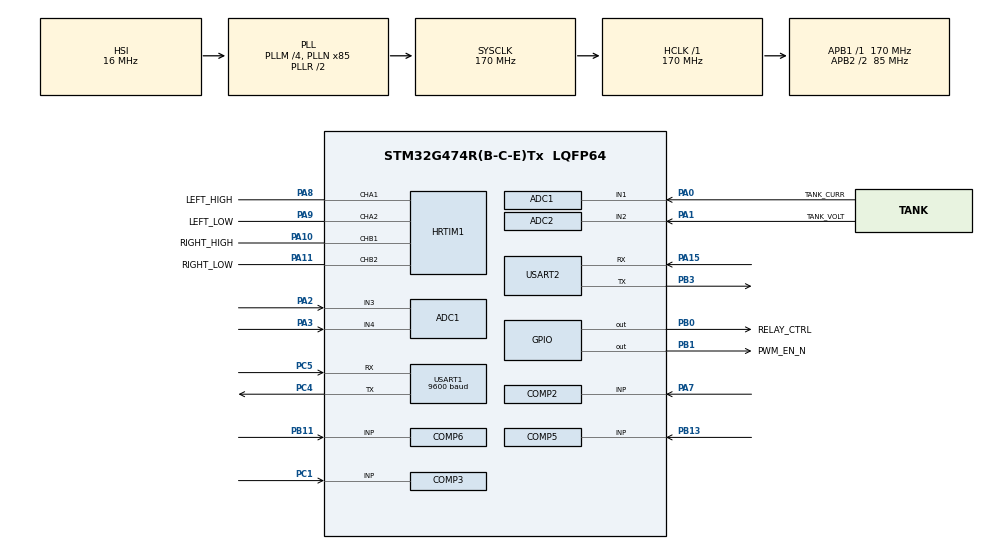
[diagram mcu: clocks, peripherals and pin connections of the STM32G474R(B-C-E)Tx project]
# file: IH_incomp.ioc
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ADC1.Channel-2\#ChannelRegularConversion=ADC_CHANNEL_1
ADC1.DMAAccessModeView=ENABLE
ADC1.DMAContinuousRequests=ENABLE
ADC1.EnableInjectedConversion=ENABLE
ADC1.ExternalTrigConv=ADC_SOFTWARE_START
ADC1.InjNumberOfConversion=2
ADC1.InjectedChannel-4\#ChannelInjectedConversion=ADC_CHANNEL_3
ADC1.InjectedChannel-5\#ChannelInjectedConversion=ADC_CHANNEL_4
ADC1.InjectedOffsetNumber-4\#ChannelInjectedConversion=ADC_OFFSET_NONE
ADC1.InjectedOffsetNumber-5\#ChannelInjectedConversion=ADC_OFFSET_NONE
ADC1.InjectedRank-4\#ChannelInjectedConversion=1
ADC1.InjectedRank-5\#ChannelInjectedConversion=2
ADC1.InjectedSamplingTime-4\#ChannelInjectedConversion=ADC_SAMPLETIME_640CYCLES_5
ADC1.InjectedSamplingTime-5\#ChannelInjectedConversion=ADC_SAMPLETIME_640CYCLES_5
ADC1.Mode=ADC_DUALMODE_REGSIMULT_INJECSIMULT
ADC1.NbrOfConversion=1
ADC1.NbrOfConversionFlag=1
ADC1.OffsetNumber-2\#ChannelRegularConversion=ADC_OFFSET_NONE
ADC1.Overrun=ADC_OVR_DATA_OVERWRITTEN
ADC1.Rank-2\#ChannelRegularConversion=1
ADC1.Rank1_Channel=ADC_CHANNEL_3
ADC1.Rank2_Channel=ADC_CHANNEL_4
ADC1.SamplingTime-2\#ChannelRegularConversion=ADC_SAMPLETIME_2CYCLES_5
ADC1.master=1
ADC2.Channel-3\#ChannelRegularConversion=ADC_CHANNEL_2
ADC2.DMAAccessModeView=ENABLE
ADC2.Mode=ADC_DUALMODE_REGSIMULT_INJECSIMULT
ADC2.NbrOfConversionFlag=1
ADC2.OffsetNumber-3\#ChannelRegularConversion=ADC_OFFSET_NONE
ADC2.Overrun=ADC_OVR_DATA_OVERWRITTEN
ADC2.Rank-3\#ChannelRegularConversion=1
ADC2.SamplingTime-3\#ChannelRegularConversion=ADC_SAMPLETIME_2CYCLES_5
DAC1.DAC_Channel-DAC_OUT2_Int=DAC_CHANNEL_2
DAC4.DAC_Channel-DAC_OUT2_Int=DAC_CHANNEL_2
Dma.ADC1.0.Direction=DMA_PERIPH_TO_MEMORY
Dma.ADC1.0.EventEnable=DISABLE
Dma.ADC1.0.Instance=DMA1_Channel1
Dma.ADC1.0.MemDataAlignment=DMA_MDATAALIGN_WORD
Dma.ADC1.0.MemInc=DMA_MINC_ENABLE
Dma.ADC1.0.Mode=DMA_CIRCULAR
Dma.ADC1.0.PeriphDataAlignment=DMA_PDATAALIGN_WORD
Dma.ADC1.0.PeriphInc=DMA_PINC_DISABLE
Dma.ADC1.0.Polarity=HAL_DMAMUX_REQ_GEN_RISING
Dma.ADC1.0.Priority=DMA_PRIORITY_LOW
Dma.ADC1.0.RequestNumber=1
Dma.ADC1.0.SignalID=NONE
Dma.ADC1.0.SyncEnable=DISABLE
Dma.ADC1.0.SyncPolarity=HAL_DMAMUX_SYNC_NO_EVENT
Dma.ADC1.0.SyncRequestNumber=1
Dma.ADC1.0.SyncSignalID=NONE
Dma.Request0=ADC1
HRTIM1.CalibrationRate_nonIT=HRTIM_CALIBRATIONRATE_1
HRTIM1.CompareUnit1-Output_TA1TA2=HRTIM_COMPAREUNIT_1
HRTIM1.CompareUnit1-Output_TB1TB2=HRTIM_COMPAREUNIT_1
HRTIM1.CompareUnit2-Output_TB1TB2=HRTIM_COMPAREUNIT_2
HRTIM1.CompareValue1-Output_TA1TA2=27200
HRTIM1.CompareValue1-Output_TB1TB2=27200
HRTIM1.CompareValue2-Output_TB1TB2=54400
HRTIM1.DeadTimeInsertion-Output_TA1TA2=HRTIM_TIMDEADTIMEINSERTION_ENABLED
HRTIM1.DeadTimeInsertion-Output_TB1TB2=HRTIM_TIMDEADTIMEINSERTION_ENABLED
HRTIM1.FallingValue-Output_TA1TA2=400
HRTIM1.FallingValue-Output_TB1TB2=400
HRTIM1.FaultEnable_Source1-Output_TA1TA2=HRTIM_TIMFAULTENABLE_FAULT1
HRTIM1.FaultEnable_Source1-Output_TB1TB2=HRTIM_TIMFAULTENABLE_FAULT1
HRTIM1.FaultEnable_Source2-Output_TA1TA2=HRTIM_TIMFAULTENABLE_FAULT2
HRTIM1.FaultEnable_Source2-Output_TB1TB2=HRTIM_TIMFAULTENABLE_FAULT2
HRTIM1.FaultLevel1-Output_TA1TA2=HRTIM_OUTPUTFAULTLEVEL_INACTIVE
HRTIM1.FaultLevel1-Output_TB1TB2=HRTIM_OUTPUTFAULTLEVEL_INACTIVE
HRTIM1.FaultLevel2-Output_TA1TA2=HRTIM_OUTPUTFAULTLEVEL_INACTIVE
HRTIM1.FaultLevel2-Output_TB1TB2=HRTIM_OUTPUTFAULTLEVEL_INACTIVE
HRTIM1.Fault_Line1=HRTIM_FAULT_1
HRTIM1.Fault_Line2=HRTIM_FAULT_2
HRTIM1.Filter_FaultLine1=HRTIM_FAULTFILTER_2
HRTIM1.Filter_FaultLine2=HRTIM_FAULTFILTER_2
HRTIM1.NumberFaultEnable-Output_TA1TA2=2
HRTIM1.NumberFaultEnable-Output_TB1TB2=2
HRTIM1.NumberResetSource1-Output_TA1TA2=1
HRTIM1.NumberResetSource1-Output_TB1TB2=1
HRTIM1.NumberSetSource1-Output_TA1TA2=1
HRTIM1.NumberSetSource1-Output_TB1TB2=1
HRTIM1.Periode_TA=54400
HRTIM1.Periode_TB=54400
HRTIM1.PreloadEnable-Output_TA1TA2=HRTIM_PRELOAD_ENABLED
HRTIM1.PreloadEnable-Output_TB1TB2=HRTIM_PRELOAD_ENABLED
HRTIM1.PrescalerRatio_TA=HRTIM_PRESCALERRATIO_MUL32
HRTIM1.ResetOutput1_Source1-Output_TA1TA2=HRTIM_OUTPUTRESET_TIMCMP1
HRTIM1.ResetOutput1_Source1-Output_TB1TB2=HRTIM_OUTPUTRESET_TIMCMP2
HRTIM1.RisingValue-Output_TA1TA2=400
HRTIM1.RisingValue-Output_TB1TB2=400
HRTIM1.SetOutput1_Source1-Output_TA1TA2=HRTIM_OUTPUTSET_TIMPER
HRTIM1.SetOutput1_Source1-Output_TB1TB2=HRTIM_OUTPUTSET_TIMCMP1
HRTIM1.SwapA=__NULL
Mcu.Family=STM32G4
Mcu.Name=STM32G474R(B-C-E)Tx
Mcu.Package=LQFP64
NVIC.DMA1_Channel1_IRQn=true\:0\:0\:false\:false\:true\:false\:true\:true
NVIC.PriorityGroup=NVIC_PRIORITYGROUP_4
NVIC.USART1_IRQn=true\:1\:0\:false\:false\:true\:true\:true\:true
NVIC.USART2_IRQn=false\:2\:0\:false\:false\:true\:true\:true\:true
PA0.GPIO_Label=TANK_CURR
PA0.Mode=IN1-Single-Ended
PA0.Signal=ADC1_IN1
PA1.GPIO_Label=TANK_VOLT
PA1.Mode=IN2-Single-Ended
PA1.Signal=ADC2_IN2
PA10.GPIO_Label=RIGHT_HIGH
PA10.Mode=Output_TB1TB2
PA10.Signal=HRTIM1_CHB1
PA11.GPIO_Label=RIGHT_LOW
PA11.Mode=Output_TB1TB2
PA11.Signal=HRTIM1_CHB2
PA13.Mode=Serial_Wire
PA13.Signal=SYS_JTMS-SWDIO
PA14.Mode=Serial_Wire
PA14.Signal=SYS_JTCK-SWCLK
PA15.Mode=Asynchronous
PA15.GPIO_PuPd=GPIO_NOPULL
PA15.Signal=USART2_RX
PA2.Mode=IN3-Single-Ended
PA2.Signal=ADC1_IN3
PA3.Mode=IN4-Single-Ended
PA3.Signal=ADC1_IN4
PA7.GPIO_PuPd=GPIO_NOPULL
PA7.Mode=INP
PA7.Signal=COMP2_INP
PA8.GPIO_Label=LEFT_HIGH
PA8.Mode=Output_TA1TA2
PA8.Signal=HRTIM1_CHA1
PA9.GPIO_Label=LEFT_LOW
PA9.Mode=Output_TA1TA2
PA9.Signal=HRTIM1_CHA2
PB0.GPIO_Label=RELAY_CTRL
PB0.Signal=GPIO_Output
PB1.GPIO_Label=PWM_EN_N
PB1.PinState=GPIO_PIN_SET
PB1.Signal=GPIO_Output
PB11.Mode=INP
PB11.Signal=COMP6_INP
PB13.Mode=INP
PB13.Signal=COMP5_INP
PB3.Mode=Asynchronous
PB3.Signal=USART2_TX
PC1.Mode=INP
PC1.Signal=COMP3_INP
PC4.Mode=Asynchronous
PC4.Signal=USART1_TX
PC5.Mode=Asynchronous
PC5.GPIO_PuPd=GPIO_PULLUP
PC5.Signal=USART1_RX
ProjectManager.HeapSize=0x200
ProjectManager.StackSize=0x400
ProjectManager.TargetToolchain=MDK-ARM V5.32
RCC.ADC12Freq_Value=170000000
RCC.ADC345Freq_Value=170000000
RCC.AHBFreq_Value=170000000
RCC.APB1Freq_Value=170000000
RCC.APB1TimFreq_Value=170000000
RCC.APB2CLKDivider=RCC_HCLK_DIV2
RCC.APB2Freq_Value=85000000
RCC.APB2TimFreq_Value=170000000
RCC.CortexFreq_Value=170000000
RCC.EXTERNAL_CLOCK_VALUE=12288000
RCC.HCLKFreq_Value=170000000
RCC.HSE_VALUE=8000000
RCC.HSI48_VALUE=48000000
RCC.HSI_VALUE=16000000
RCC.LSE_VALUE=32768
RCC.PLLM=RCC_PLLM_DIV4
RCC.PLLN=85
RCC.SYSCLKFreq_VALUE=170000000
RCC.SYSCLKSource=RCC_SYSCLKSOURCE_PLLCLK
RCC.USBFreq_Value=170000000
RCC.VCOOutputFreq_Value=340000000
USART1.VirtualMode-Asynchronous=VM_ASYNC
USART1.BaudRate=9600
USART2.VirtualMode-Asynchronous=VM_ASYNC
VP_COMP2_VS_DAC1OUT2.Mode=INM_DAC1OUT2
VP_COMP3_VS_DAC1OUT1.Mode=INM_DAC1OUT1
VP_COMP5_VS_DAC4OUT1.Mode=INM_DAC4OUT1
VP_COMP6_VS_DAC4OUT2.Mode=INM_DAC4OUT2
VP_DAC1_VS_DACI1.Mode=DAC_OUT1_Int
VP_DAC1_VS_DACI2.Mode=DAC_OUT2_Int
VP_DAC4_VS_DACI1.Mode=DAC_OUT1_Int
VP_DAC4_VS_DACI2.Mode=DAC_OUT2_Int
VP_HRTIM1_VS_hrtimMasterTimerNoOutput.Mode=MasterTimer
VP_SYS_VS_DBSignals.Mode=DisableDeadBatterySignals
board=custom

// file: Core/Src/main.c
/* USER CODE BEGIN Header */
/**
  ******************************************************************************
  * @file           : main.c
  * @brief          : Main program body
  ******************************************************************************
  * @attention
  *
  * Copyright (c) 2026 STMicroelectronics.
  * All rights reserved.
  *
  * This software is licensed under terms that can be found in the LICENSE file
  * in the root directory of this software component.
  * If no LICENSE file comes with this software, it is provided AS-IS.
  *
  ******************************************************************************
  */
/* USER CODE END Header */
#include "main.h"

/* USER CODE BEGIN Includes */
#include "ih_config.h"
#include "ih_app.h"
/* USER CODE END Includes */

ADC_HandleTypeDef hadc1;
ADC_HandleTypeDef hadc2;
DMA_HandleTypeDef hdma_adc1;

COMP_HandleTypeDef hcomp2;
COMP_HandleTypeDef hcomp3;
COMP_HandleTypeDef hcomp5;
COMP_HandleTypeDef hcomp6;

DAC_HandleTypeDef hdac1;
DAC_HandleTypeDef hdac4;

HRTIM_HandleTypeDef hhrtim1;

UART_HandleTypeDef huart1;
UART_HandleTypeDef huart2;

void SystemClock_Config(void);
static void MX_GPIO_Init(void);
static void MX_DMA_Init(void);
static void MX_ADC1_Init(void);
static void MX_ADC2_Init(void);
static void MX_HRTIM1_Init(void);
static void MX_DAC1_Init(void);
static void MX_COMP2_Init(void);
static void MX_COMP3_Init(void);
static void MX_USART1_UART_Init(void);
static void MX_USART2_UART_Init(void);
static void MX_COMP5_Init(void);
static void MX_COMP6_Init(void);
static void MX_DAC4_Init(void);

int main(void)
{

  /* MCU Configuration--------------------------------------------------------*/

  /* Reset of all peripherals, Initializes the Flash interface and the Systick. */
  HAL_Init();

  /* Configure the system clock */
  SystemClock_Config();

  /* Initialize all configured peripherals */
  MX_GPIO_Init();
  MX_DMA_Init();
  MX_ADC1_Init();
  MX_ADC2_Init();
  MX_HRTIM1_Init();
  MX_DAC1_Init();
  MX_COMP2_Init();
  MX_COMP3_Init();
  MX_USART1_UART_Init();
  MX_USART2_UART_Init();
  MX_COMP5_Init();
  MX_COMP6_Init();
  MX_DAC4_Init();
  /* USER CODE BEGIN 2 */
  App_Init();
/* USER CODE END 2 */

  /* Infinite loop */
  while (1)
  {

    /* USER CODE BEGIN 3 */
    App_Task();
  }
/* USER CODE END 3 */
}

void SystemClock_Config(void)
{
  RCC_OscInitTypeDef RCC_OscInitStruct = {0};
  RCC_ClkInitTypeDef RCC_ClkInitStruct = {0};

  /** Configure the main internal regulator output voltage
  */
  HAL_PWREx_ControlVoltageScaling(PWR_REGULATOR_VOLTAGE_SCALE1_BOOST);

  /** Initializes the RCC Oscillators according to the specified parameters
  * in the RCC_OscInitTypeDef structure.
  */
  RCC_OscInitStruct.OscillatorType = RCC_OSCILLATORTYPE_HSI;
  RCC_OscInitStruct.HSIState = RCC_HSI_ON;
  RCC_OscInitStruct.HSICalibrationValue = RCC_HSICALIBRATION_DEFAULT;
  RCC_OscInitStruct.PLL.PLLState = RCC_PLL_ON;
  RCC_OscInitStruct.PLL.PLLSource = RCC_PLLSOURCE_HSI;
  RCC_OscInitStruct.PLL.PLLM = RCC_PLLM_DIV4;
  RCC_OscInitStruct.PLL.PLLN = 85;
  RCC_OscInitStruct.PLL.PLLP = RCC_PLLP_DIV2;
  RCC_OscInitStruct.PLL.PLLQ = RCC_PLLQ_DIV2;
  RCC_OscInitStruct.PLL.PLLR = RCC_PLLR_DIV2;
  if (HAL_RCC_OscConfig(&RCC_OscInitStruct) != HAL_OK)
  {
    Error_Handler();
  }

  /** Initializes the CPU, AHB and APB buses clocks
  */
  RCC_ClkInitStruct.ClockType = RCC_CLOCKTYPE_HCLK|RCC_CLOCKTYPE_SYSCLK
                              |RCC_CLOCKTYPE_PCLK1|RCC_CLOCKTYPE_PCLK2;
  RCC_ClkInitStruct.SYSCLKSource = RCC_SYSCLKSOURCE_PLLCLK;
  RCC_ClkInitStruct.AHBCLKDivider = RCC_SYSCLK_DIV1;
  RCC_ClkInitStruct.APB1CLKDivider = RCC_HCLK_DIV1;
  RCC_ClkInitStruct.APB2CLKDivider = RCC_HCLK_DIV2;

  if (HAL_RCC_ClockConfig(&RCC_ClkInitStruct, FLASH_LATENCY_4) != HAL_OK)
  {
    Error_Handler();
  }
}

static void MX_ADC1_Init(void)
{

  ADC_MultiModeTypeDef multimode = {0};
  ADC_ChannelConfTypeDef sConfig = {0};
  ADC_InjectionConfTypeDef sConfigInjected = {0};

  /** Common config
  */
  hadc1.Instance = ADC1;
  hadc1.Init.ClockPrescaler = ADC_CLOCK_SYNC_PCLK_DIV4;
  hadc1.Init.Resolution = ADC_RESOLUTION_12B;
  hadc1.Init.DataAlign = ADC_DATAALIGN_RIGHT;
  hadc1.Init.GainCompensation = 0;
  hadc1.Init.ScanConvMode = ADC_SCAN_ENABLE;
  hadc1.Init.EOCSelection = ADC_EOC_SEQ_CONV;
  hadc1.Init.LowPowerAutoWait = DISABLE;
  hadc1.Init.ContinuousConvMode = ENABLE;
  hadc1.Init.NbrOfConversion = 1;
  hadc1.Init.DiscontinuousConvMode = DISABLE;
  hadc1.Init.ExternalTrigConv = ADC_SOFTWARE_START;
  hadc1.Init.ExternalTrigConvEdge = ADC_EXTERNALTRIGCONVEDGE_NONE;
  hadc1.Init.DMAContinuousRequests = ENABLE;
  hadc1.Init.Overrun = ADC_OVR_DATA_OVERWRITTEN;
  hadc1.Init.OversamplingMode = DISABLE;
  if (HAL_ADC_Init(&hadc1) != HAL_OK)
  {
    Error_Handler();
  }

  /** Configure the ADC multi-mode
  */
  multimode.Mode = ADC_DUALMODE_REGSIMULT_INJECSIMULT;
  multimode.DMAAccessMode = ADC_DMAACCESSMODE_12_10_BITS;
  multimode.TwoSamplingDelay = ADC_TWOSAMPLINGDELAY_1CYCLE;
  if (HAL_ADCEx_MultiModeConfigChannel(&hadc1, &multimode) != HAL_OK)
  {
    Error_Handler();
  }

  /** Configure Regular Channel
  */
  sConfig.Channel = ADC_CHANNEL_1;
  sConfig.Rank = ADC_REGULAR_RANK_1;
  sConfig.SamplingTime = ADC_SAMPLETIME_12CYCLES_5;
  sConfig.SingleDiff = ADC_SINGLE_ENDED;
  sConfig.OffsetNumber = ADC_OFFSET_NONE;
  sConfig.Offset = 0;
  if (HAL_ADC_ConfigChannel(&hadc1, &sConfig) != HAL_OK)
  {
    Error_Handler();
  }

  /** Configure Injected Channel
  */
  sConfigInjected.InjectedChannel = ADC_CHANNEL_3;
  sConfigInjected.InjectedRank = ADC_INJECTED_RANK_1;
  sConfigInjected.InjectedSamplingTime = ADC_SAMPLETIME_640CYCLES_5;
  sConfigInjected.InjectedSingleDiff = ADC_SINGLE_ENDED;
  sConfigInjected.InjectedOffsetNumber = ADC_OFFSET_NONE;
  sConfigInjected.InjectedOffset = 0;
  sConfigInjected.InjectedNbrOfConversion = 2;
  sConfigInjected.InjectedDiscontinuousConvMode = DISABLE;
  sConfigInjected.AutoInjectedConv = DISABLE;
  sConfigInjected.QueueInjectedContext = DISABLE;
  sConfigInjected.ExternalTrigInjecConv = ADC_INJECTED_SOFTWARE_START;
  sConfigInjected.ExternalTrigInjecConvEdge = ADC_EXTERNALTRIGINJECCONV_EDGE_NONE;
  sConfigInjected.InjecOversamplingMode = DISABLE;
  if (HAL_ADCEx_InjectedConfigChannel(&hadc1, &sConfigInjected) != HAL_OK)
  {
    Error_Handler();
  }

  /** Configure Injected Channel
  */
  sConfigInjected.InjectedChannel = ADC_CHANNEL_4;
  sConfigInjected.InjectedRank = ADC_INJECTED_RANK_2;
  if (HAL_ADCEx_InjectedConfigChannel(&hadc1, &sConfigInjected) != HAL_OK)
  {
    Error_Handler();
  }

}

static void MX_ADC2_Init(void)
{

  ADC_ChannelConfTypeDef sConfig = {0};

  /** Common config
  */
  hadc2.Instance = ADC2;
  hadc2.Init.ClockPrescaler = ADC_CLOCK_SYNC_PCLK_DIV4;
  hadc2.Init.Resolution = ADC_RESOLUTION_12B;
  hadc2.Init.DataAlign = ADC_DATAALIGN_RIGHT;
  hadc2.Init.GainCompensation = 0;
  /* HAL also uses this flag for the two-rank injected sequence. */
  hadc2.Init.ScanConvMode = ADC_SCAN_ENABLE;
  hadc2.Init.EOCSelection = ADC_EOC_SEQ_CONV;
  hadc2.Init.LowPowerAutoWait = DISABLE;
  hadc2.Init.ContinuousConvMode = ENABLE;
  hadc2.Init.NbrOfConversion = 1;
  hadc2.Init.DiscontinuousConvMode = DISABLE;
  hadc2.Init.DMAContinuousRequests = DISABLE;
  hadc2.Init.Overrun = ADC_OVR_DATA_OVERWRITTEN;
  hadc2.Init.OversamplingMode = DISABLE;
  if (HAL_ADC_Init(&hadc2) != HAL_OK)
  {
    Error_Handler();
  }

  /** Configure Regular Channel
  */
  sConfig.Channel = ADC_CHANNEL_2;
  sConfig.Rank = ADC_REGULAR_RANK_1;
  sConfig.SamplingTime = ADC_SAMPLETIME_12CYCLES_5;
  sConfig.SingleDiff = ADC_SINGLE_ENDED;
  sConfig.OffsetNumber = ADC_OFFSET_NONE;
  sConfig.Offset = 0;
  if (HAL_ADC_ConfigChannel(&hadc2, &sConfig) != HAL_OK)
  {
    Error_Handler();
  }

}

static void MX_COMP2_Init(void)
{

  hcomp2.Instance = COMP2;
  hcomp2.Init.InputPlus = COMP_INPUT_PLUS_IO1;
  hcomp2.Init.InputMinus = COMP_INPUT_MINUS_DAC1_CH2;
  hcomp2.Init.OutputPol = COMP_OUTPUTPOL_NONINVERTED;
  hcomp2.Init.Hysteresis = COMP_HYSTERESIS_40MV;
  hcomp2.Init.BlankingSrce = COMP_BLANKINGSRC_NONE;
  hcomp2.Init.TriggerMode = COMP_TRIGGERMODE_NONE;
  if (HAL_COMP_Init(&hcomp2) != HAL_OK)
  {
    Error_Handler();
  }

}

static void MX_COMP3_Init(void)
{

  hcomp3.Instance = COMP3;
  hcomp3.Init.InputPlus = COMP_INPUT_PLUS_IO2;
  hcomp3.Init.InputMinus = COMP_INPUT_MINUS_DAC1_CH1;
  hcomp3.Init.OutputPol = COMP_OUTPUTPOL_NONINVERTED;
  hcomp3.Init.Hysteresis = COMP_HYSTERESIS_NONE;
  hcomp3.Init.BlankingSrce = COMP_BLANKINGSRC_NONE;
  hcomp3.Init.TriggerMode = COMP_TRIGGERMODE_NONE;
  if (HAL_COMP_Init(&hcomp3) != HAL_OK)
  {
    Error_Handler();
  }

}

static void MX_COMP5_Init(void)
{

  hcomp5.Instance = COMP5;
  hcomp5.Init.InputPlus = COMP_INPUT_PLUS_IO1;
  hcomp5.Init.InputMinus = COMP_INPUT_MINUS_DAC4_CH1;
  hcomp5.Init.OutputPol = COMP_OUTPUTPOL_NONINVERTED;
  hcomp5.Init.Hysteresis = COMP_HYSTERESIS_NONE;
  hcomp5.Init.BlankingSrce = COMP_BLANKINGSRC_NONE;
  hcomp5.Init.TriggerMode = COMP_TRIGGERMODE_NONE;
  if (HAL_COMP_Init(&hcomp5) != HAL_OK)
  {
    Error_Handler();
  }

}

static void MX_COMP6_Init(void)
{

  hcomp6.Instance = COMP6;
  hcomp6.Init.InputPlus = COMP_INPUT_PLUS_IO1;
  hcomp6.Init.InputMinus = COMP_INPUT_MINUS_DAC4_CH2;
  hcomp6.Init.OutputPol = COMP_OUTPUTPOL_NONINVERTED;
  hcomp6.Init.Hysteresis = COMP_HYSTERESIS_40MV;
  hcomp6.Init.BlankingSrce = COMP_BLANKINGSRC_NONE;
  hcomp6.Init.TriggerMode = COMP_TRIGGERMODE_NONE;
  if (HAL_COMP_Init(&hcomp6) != HAL_OK)
  {
    Error_Handler();
  }

}

static void MX_DAC1_Init(void)
{

  DAC_ChannelConfTypeDef sConfig = {0};

  /** DAC Initialization
  */
  hdac1.Instance = DAC1;
  if (HAL_DAC_Init(&hdac1) != HAL_OK)
  {
    Error_Handler();
  }

  /** DAC channel OUT1 config
  */
  sConfig.DAC_HighFrequency = DAC_HIGH_FREQUENCY_INTERFACE_MODE_AUTOMATIC;
  sConfig.DAC_DMADoubleDataMode = DISABLE;
  sConfig.DAC_SignedFormat = DISABLE;
  sConfig.DAC_SampleAndHold = DAC_SAMPLEANDHOLD_DISABLE;
  sConfig.DAC_Trigger = DAC_TRIGGER_NONE;
  sConfig.DAC_Trigger2 = DAC_TRIGGER_NONE;
  sConfig.DAC_OutputBuffer = DAC_OUTPUTBUFFER_DISABLE;
  sConfig.DAC_ConnectOnChipPeripheral = DAC_CHIPCONNECT_INTERNAL;
  sConfig.DAC_UserTrimming = DAC_TRIMMING_FACTORY;
  if (HAL_DAC_ConfigChannel(&hdac1, &sConfig, DAC_CHANNEL_1) != HAL_OK)
  {
    Error_Handler();
  }

  /** DAC channel OUT2 config
  */
  if (HAL_DAC_ConfigChannel(&hdac1, &sConfig, DAC_CHANNEL_2) != HAL_OK)
  {
    Error_Handler();
  }

}

static void MX_DAC4_Init(void)
{

  DAC_ChannelConfTypeDef sConfig = {0};

  /** DAC Initialization
  */
  hdac4.Instance = DAC4;
  if (HAL_DAC_Init(&hdac4) != HAL_OK)
  {
    Error_Handler();
  }

  /** DAC channel OUT1 config
  */
  sConfig.DAC_HighFrequency = DAC_HIGH_FREQUENCY_INTERFACE_MODE_AUTOMATIC;
  sConfig.DAC_DMADoubleDataMode = DISABLE;
  sConfig.DAC_SignedFormat = DISABLE;
  sConfig.DAC_SampleAndHold = DAC_SAMPLEANDHOLD_DISABLE;
  sConfig.DAC_Trigger = DAC_TRIGGER_NONE;
  sConfig.DAC_Trigger2 = DAC_TRIGGER_NONE;
  sConfig.DAC_OutputBuffer = DAC_OUTPUTBUFFER_DISABLE;
  sConfig.DAC_ConnectOnChipPeripheral = DAC_CHIPCONNECT_INTERNAL;
  sConfig.DAC_UserTrimming = DAC_TRIMMING_FACTORY;
  if (HAL_DAC_ConfigChannel(&hdac4, &sConfig, DAC_CHANNEL_1) != HAL_OK)
  {
    Error_Handler();
  }

  /** DAC channel OUT2 config
  */
  if (HAL_DAC_ConfigChannel(&hdac4, &sConfig, DAC_CHANNEL_2) != HAL_OK)
  {
    Error_Handler();
  }

}

static void MX_HRTIM1_Init(void)
{

  HRTIM_TimeBaseCfgTypeDef pTimeBaseCfg = {0};
  HRTIM_TimerCfgTypeDef pTimerCfg = {0};
  HRTIM_TimerCtlTypeDef pTimerCtl = {0};
  HRTIM_CompareCfgTypeDef pCompareCfg = {0};
  HRTIM_DeadTimeCfgTypeDef pDeadTimeCfg = {0};
  HRTIM_OutputCfgTypeDef pOutputCfg = {0};

  hhrtim1.Instance = HRTIM1;
  hhrtim1.Init.HRTIMInterruptResquests = HRTIM_IT_NONE;
  hhrtim1.Init.SyncOptions = HRTIM_SYNCOPTION_NONE;
  if (HAL_HRTIM_Init(&hhrtim1) != HAL_OK)
  {
    Error_Handler();
  }
  if (HAL_HRTIM_DLLCalibrationStart(&hhrtim1, HRTIM_CALIBRATIONRATE_1) != HAL_OK)
  {
    Error_Handler();
  }
  if (HAL_HRTIM_PollForDLLCalibration(&hhrtim1, 10) != HAL_OK)
  {
    Error_Handler();
  }
  pTimeBaseCfg.Period = 0xFFDF;
  pTimeBaseCfg.RepetitionCounter = 0x00;
  pTimeBaseCfg.PrescalerRatio = HRTIM_PRESCALERRATIO_MUL4;
  pTimeBaseCfg.Mode = HRTIM_MODE_CONTINUOUS;
  if (HAL_HRTIM_TimeBaseConfig(&hhrtim1, HRTIM_TIMERINDEX_MASTER, &pTimeBaseCfg) != HAL_OK)
  {
    Error_Handler();
  }
  pTimerCfg.InterruptRequests = HRTIM_MASTER_IT_NONE;
  pTimerCfg.DMARequests = HRTIM_MASTER_DMA_NONE;
  pTimerCfg.DMASrcAddress = 0x0000;
  pTimerCfg.DMADstAddress = 0x0000;
  pTimerCfg.DMASize = 0x1;
  pTimerCfg.HalfModeEnable = HRTIM_HALFMODE_DISABLED;
  pTimerCfg.InterleavedMode = HRTIM_INTERLEAVED_MODE_DISABLED;
  pTimerCfg.StartOnSync = HRTIM_SYNCSTART_DISABLED;
  pTimerCfg.ResetOnSync = HRTIM_SYNCRESET_DISABLED;
  pTimerCfg.DACSynchro = HRTIM_DACSYNC_NONE;
  pTimerCfg.PreloadEnable = HRTIM_PRELOAD_DISABLED;
  pTimerCfg.UpdateGating = HRTIM_UPDATEGATING_INDEPENDENT;
  pTimerCfg.BurstMode = HRTIM_TIMERBURSTMODE_MAINTAINCLOCK;
  pTimerCfg.RepetitionUpdate = HRTIM_UPDATEONREPETITION_DISABLED;
  pTimerCfg.ReSyncUpdate = HRTIM_TIMERESYNC_UPDATE_UNCONDITIONAL;
  if (HAL_HRTIM_WaveformTimerConfig(&hhrtim1, HRTIM_TIMERINDEX_MASTER, &pTimerCfg) != HAL_OK)
  {
    Error_Handler();
  }

  pTimeBaseCfg.Period = 33830;
  pTimeBaseCfg.PrescalerRatio = HRTIM_PRESCALERRATIO_MUL4;
  if (HAL_HRTIM_TimeBaseConfig(&hhrtim1, HRTIM_TIMERINDEX_TIMER_A, &pTimeBaseCfg) != HAL_OK)
  {
    Error_Handler();
  }
  pTimerCtl.UpDownMode = HRTIM_TIMERUPDOWNMODE_UP;
  pTimerCtl.GreaterCMP1 = HRTIM_TIMERGTCMP1_EQUAL;
  pTimerCtl.DualChannelDacEnable = HRTIM_TIMER_DCDE_DISABLED;
  if (HAL_HRTIM_WaveformTimerControl(&hhrtim1, HRTIM_TIMERINDEX_TIMER_A, &pTimerCtl) != HAL_OK)
  {
    Error_Handler();
  }
  pTimerCfg.InterruptRequests = HRTIM_TIM_IT_NONE;
  pTimerCfg.DMARequests = HRTIM_TIM_DMA_NONE;
  pTimerCfg.PreloadEnable = HRTIM_PRELOAD_DISABLED;
  pTimerCfg.PushPull = HRTIM_TIMPUSHPULLMODE_DISABLED;
  pTimerCfg.FaultEnable = HRTIM_TIMFAULTENABLE_FAULT1 | HRTIM_TIMFAULTENABLE_FAULT3;
  pTimerCfg.FaultLock = HRTIM_TIMFAULTLOCK_READWRITE;
  pTimerCfg.DeadTimeInsertion = HRTIM_TIMDEADTIMEINSERTION_ENABLED;
  pTimerCfg.DelayedProtectionMode = HRTIM_TIMER_A_B_C_DELAYEDPROTECTION_DISABLED;
  pTimerCfg.UpdateTrigger = HRTIM_TIMUPDATETRIGGER_NONE;
  pTimerCfg.ResetTrigger = HRTIM_TIMRESETTRIGGER_NONE;
  pTimerCfg.ResetUpdate = HRTIM_TIMUPDATEONRESET_DISABLED;
  if (HAL_HRTIM_WaveformTimerConfig(&hhrtim1, HRTIM_TIMERINDEX_TIMER_A, &pTimerCfg) != HAL_OK)
  {
    Error_Handler();
  }

  pCompareCfg.CompareValue = 16915;
  if (HAL_HRTIM_WaveformCompareConfig(&hhrtim1, HRTIM_TIMERINDEX_TIMER_A, HRTIM_COMPAREUNIT_1, &pCompareCfg) != HAL_OK)
  {
    Error_Handler();
  }

  /* fHRTIM = 170 MHz: DIV1 gives 85 / 170 MHz = 500 ns on both edges.
   * This deadtime stays fixed when the PWM period is changed for a sweep.
   */
  pDeadTimeCfg.Prescaler = HRTIM_TIMDEADTIME_PRESCALERRATIO_DIV1;
  pDeadTimeCfg.RisingValue = 85;
  pDeadTimeCfg.RisingSign = HRTIM_TIMDEADTIME_RISINGSIGN_POSITIVE;
  pDeadTimeCfg.RisingLock = HRTIM_TIMDEADTIME_RISINGLOCK_WRITE;
  pDeadTimeCfg.RisingSignLock = HRTIM_TIMDEADTIME_RISINGSIGNLOCK_WRITE;
  pDeadTimeCfg.FallingValue = 85;
  pDeadTimeCfg.FallingSign = HRTIM_TIMDEADTIME_FALLINGSIGN_POSITIVE;
  pDeadTimeCfg.FallingLock = HRTIM_TIMDEADTIME_FALLINGLOCK_WRITE;
  pDeadTimeCfg.FallingSignLock = HRTIM_TIMDEADTIME_FALLINGSIGNLOCK_WRITE;
  if (HAL_HRTIM_DeadTimeConfig(&hhrtim1, HRTIM_TIMERINDEX_TIMER_A, &pDeadTimeCfg) != HAL_OK)
  {
    Error_Handler();
  }

  pOutputCfg.Polarity = HRTIM_OUTPUTPOLARITY_HIGH;
  pOutputCfg.SetSource = HRTIM_OUTPUTSET_TIMPER;
  pOutputCfg.ResetSource = HRTIM_OUTPUTRESET_TIMCMP1;
  pOutputCfg.IdleMode = HRTIM_OUTPUTIDLEMODE_NONE;
  pOutputCfg.IdleLevel = HRTIM_OUTPUTIDLELEVEL_INACTIVE;
  pOutputCfg.FaultLevel = HRTIM_OUTPUTFAULTLEVEL_INACTIVE;
  pOutputCfg.ChopperModeEnable = HRTIM_OUTPUTCHOPPERMODE_DISABLED;
  pOutputCfg.BurstModeEntryDelayed = HRTIM_OUTPUTBURSTMODEENTRY_REGULAR;
  if (HAL_HRTIM_WaveformOutputConfig(&hhrtim1, HRTIM_TIMERINDEX_TIMER_A, HRTIM_OUTPUT_TA1, &pOutputCfg) != HAL_OK)
  {
    Error_Handler();
  }

  pOutputCfg.SetSource = HRTIM_OUTPUTSET_NONE;
  pOutputCfg.ResetSource = HRTIM_OUTPUTRESET_NONE;
  if (HAL_HRTIM_WaveformOutputConfig(&hhrtim1, HRTIM_TIMERINDEX_TIMER_A, HRTIM_OUTPUT_TA2, &pOutputCfg) != HAL_OK)
  {
    Error_Handler();
  }

  if (HAL_HRTIM_TimeBaseConfig(&hhrtim1, HRTIM_TIMERINDEX_TIMER_B, &pTimeBaseCfg) != HAL_OK)
  {
    Error_Handler();
  }
  pTimerCtl.TrigHalf = HRTIM_TIMERTRIGHALF_DISABLED;
  if (HAL_HRTIM_WaveformTimerControl(&hhrtim1, HRTIM_TIMERINDEX_TIMER_B, &pTimerCtl) != HAL_OK)
  {
    Error_Handler();
  }

  if (HAL_HRTIM_WaveformTimerConfig(&hhrtim1, HRTIM_TIMERINDEX_TIMER_B, &pTimerCfg) != HAL_OK)
  {
    Error_Handler();
  }

  pCompareCfg.CompareValue = 5638;   /* Timer B lags Timer A by 60 degrees (33830/6). */
  if (HAL_HRTIM_WaveformCompareConfig(&hhrtim1, HRTIM_TIMERINDEX_TIMER_B, HRTIM_COMPAREUNIT_1, &pCompareCfg) != HAL_OK)
  {
    Error_Handler();
  }

  pCompareCfg.CompareValue = 22553;  /* CMP1 + half a period: 50% duty. */
  if (HAL_HRTIM_WaveformCompareConfig(&hhrtim1, HRTIM_TIMERINDEX_TIMER_B, HRTIM_COMPAREUNIT_2, &pCompareCfg) != HAL_OK)
  {
    Error_Handler();
  }

  if (HAL_HRTIM_DeadTimeConfig(&hhrtim1, HRTIM_TIMERINDEX_TIMER_B, &pDeadTimeCfg) != HAL_OK)
  {
    Error_Handler();
  }

  pOutputCfg.SetSource = HRTIM_OUTPUTSET_TIMCMP1;   /* 60-degree phase delay. */
  pOutputCfg.ResetSource = HRTIM_OUTPUTRESET_TIMCMP2;
  if (HAL_HRTIM_WaveformOutputConfig(&hhrtim1, HRTIM_TIMERINDEX_TIMER_B, HRTIM_OUTPUT_TB1, &pOutputCfg) != HAL_OK)
  {
    Error_Handler();
  }

  pOutputCfg.SetSource = HRTIM_OUTPUTSET_NONE;
  pOutputCfg.ResetSource = HRTIM_OUTPUTRESET_NONE;
  if (HAL_HRTIM_WaveformOutputConfig(&hhrtim1, HRTIM_TIMERINDEX_TIMER_B, HRTIM_OUTPUT_TB2, &pOutputCfg) != HAL_OK)
  {
    Error_Handler();
  }
  /* USER CODE BEGIN HRTIM1_Init 2 */
  {
    HRTIM_FaultCfgTypeDef pFaultCfg = {0};

    if (HAL_HRTIM_FaultPrescalerConfig(&hhrtim1, HRTIM_FAULTPRESCALER_DIV1) != HAL_OK)
    {
      Error_Handler();
    }

    /* FAULT1: over-voltage protection (COMP2, internal source, filtered) */
    pFaultCfg.Source = HRTIM_FAULTSOURCE_INTERNAL;
    pFaultCfg.Polarity = HRTIM_FAULTPOLARITY_HIGH;
    pFaultCfg.Filter = HRTIM_FAULTFILTER_15;
    pFaultCfg.Lock = HRTIM_FAULTLOCK_READWRITE;
    if (HAL_HRTIM_FaultConfig(&hhrtim1, HRTIM_FAULT_1, &pFaultCfg) != HAL_OK)
    {
      Error_Handler();
    }

    /* FAULT3: over-current protection (COMP6, internal source, filtered) */
    pFaultCfg.Source = HRTIM_FAULTSOURCE_INTERNAL;
    pFaultCfg.Polarity = HRTIM_FAULTPOLARITY_HIGH;
    pFaultCfg.Filter = HRTIM_FAULTFILTER_8;
    pFaultCfg.Lock = HRTIM_FAULTLOCK_READWRITE;
    if (HAL_HRTIM_FaultConfig(&hhrtim1, HRTIM_FAULT_3, &pFaultCfg) != HAL_OK)
    {
      Error_Handler();
    }

    /* Keep faults disabled during initialization. They are enabled in main()
     * after DAC and COMP are started.
     */
    HAL_HRTIM_FaultModeCtl(&hhrtim1, HRTIM_FAULT_1, HRTIM_FAULTMODECTL_DISABLED);
    HAL_HRTIM_FaultModeCtl(&hhrtim1, HRTIM_FAULT_3, HRTIM_FAULTMODECTL_DISABLED);
  }

  /* USER CODE END HRTIM1_Init 2 */
  HAL_HRTIM_MspPostInit(&hhrtim1);

}

static void MX_USART1_UART_Init(void)
{

  huart1.Instance = USART1;
  huart1.Init.BaudRate = IH_HMI_BAUD;
  huart1.Init.WordLength = UART_WORDLENGTH_8B;
  huart1.Init.StopBits = UART_STOPBITS_1;
  huart1.Init.Parity = UART_PARITY_NONE;
  huart1.Init.Mode = UART_MODE_TX_RX;
  huart1.Init.HwFlowCtl = UART_HWCONTROL_NONE;
  huart1.Init.OverSampling = UART_OVERSAMPLING_16;
  huart1.Init.OneBitSampling = UART_ONE_BIT_SAMPLE_DISABLE;
  huart1.Init.ClockPrescaler = UART_PRESCALER_DIV1;
  huart1.AdvancedInit.AdvFeatureInit = UART_ADVFEATURE_NO_INIT;
  if (HAL_UART_Init(&huart1) != HAL_OK)
  {
    Error_Handler();
  }
  if (HAL_UARTEx_SetTxFifoThreshold(&huart1, UART_TXFIFO_THRESHOLD_1_8) != HAL_OK)
  {
    Error_Handler();
  }
  if (HAL_UARTEx_SetRxFifoThreshold(&huart1, UART_RXFIFO_THRESHOLD_1_8) != HAL_OK)
  {
    Error_Handler();
  }
  if (HAL_UARTEx_DisableFifoMode(&huart1) != HAL_OK)
  {
    Error_Handler();
  }

}

static void MX_USART2_UART_Init(void)
{

  huart2.Instance = USART2;
  huart2.Init.BaudRate = IH_WORKPIECE_UART_BAUD;
  huart2.Init.WordLength = UART_WORDLENGTH_8B;
  huart2.Init.StopBits = UART_STOPBITS_1;
  huart2.Init.Parity = UART_PARITY_NONE;
  huart2.Init.Mode = UART_MODE_TX_RX;
  huart2.Init.HwFlowCtl = UART_HWCONTROL_NONE;
  huart2.Init.OverSampling = UART_OVERSAMPLING_16;
  huart2.Init.OneBitSampling = UART_ONE_BIT_SAMPLE_DISABLE;
  huart2.Init.ClockPrescaler = UART_PRESCALER_DIV1;
  huart2.AdvancedInit.AdvFeatureInit = UART_ADVFEATURE_NO_INIT;
  if (HAL_UART_Init(&huart2) != HAL_OK)
  {
    Error_Handler();
  }
  if (HAL_UARTEx_SetTxFifoThreshold(&huart2, UART_TXFIFO_THRESHOLD_1_8) != HAL_OK)
  {
    Error_Handler();
  }
  if (HAL_UARTEx_SetRxFifoThreshold(&huart2, UART_RXFIFO_THRESHOLD_1_8) != HAL_OK)
  {
    Error_Handler();
  }
  if (HAL_UARTEx_DisableFifoMode(&huart2) != HAL_OK)
  {
    Error_Handler();
  }

}

static void MX_DMA_Init(void)
{

  /* DMA controller clock enable */
  __HAL_RCC_DMAMUX1_CLK_ENABLE();
  __HAL_RCC_DMA1_CLK_ENABLE();

  /* DMA interrupt init */
  /* DMA1_Channel1_IRQn interrupt configuration */
  HAL_NVIC_SetPriority(DMA1_Channel1_IRQn, 0, 0);
  HAL_NVIC_EnableIRQ(DMA1_Channel1_IRQn);

}

static void MX_GPIO_Init(void)
{
  GPIO_InitTypeDef GPIO_InitStruct = {0};

  /* GPIO Ports Clock Enable */
  __HAL_RCC_GPIOC_CLK_ENABLE();
  __HAL_RCC_GPIOA_CLK_ENABLE();
  __HAL_RCC_GPIOB_CLK_ENABLE();

  /*Configure GPIO pin Output Level */
  HAL_GPIO_WritePin(RELAY_CTRL_GPIO_Port, RELAY_CTRL_Pin, GPIO_PIN_RESET);

  /*Configure GPIO pin Output Level */
  /* PWM enable is active low, keep it disabled after reset. */
  HAL_GPIO_WritePin(PWM_EN_N_GPIO_Port, PWM_EN_N_Pin, GPIO_PIN_SET);

  /*Configure GPIO pins : RELAY_CTRL_Pin PWM_EN_N_Pin */
  GPIO_InitStruct.Pin = RELAY_CTRL_Pin|PWM_EN_N_Pin;
  GPIO_InitStruct.Mode = GPIO_MODE_OUTPUT_PP;
  GPIO_InitStruct.Pull = GPIO_NOPULL;
  GPIO_InitStruct.Speed = GPIO_SPEED_FREQ_LOW;
  HAL_GPIO_Init(GPIOB, &GPIO_InitStruct);

  /* USER CODE BEGIN MX_GPIO_Init_2 */
  HAL_GPIO_WritePin(GPIOC, GPIO_PIN_13, GPIO_PIN_RESET);

  GPIO_InitStruct.Pin = GPIO_PIN_13;
  GPIO_InitStruct.Mode = GPIO_MODE_OUTPUT_PP;
  GPIO_InitStruct.Pull = GPIO_NOPULL;
  GPIO_InitStruct.Speed = GPIO_SPEED_FREQ_LOW;
  HAL_GPIO_Init(GPIOC, &GPIO_InitStruct);

  /* USER CODE END MX_GPIO_Init_2 */
}

void Error_Handler(void)
{
  /* USER CODE BEGIN Error_Handler_Debug */
  /* User can add his own implementation to report the HAL error return state */
  App_EmergencyOff();
  __disable_irq();
  while (1)
  {
  }
  /* USER CODE END Error_Handler_Debug */
}
